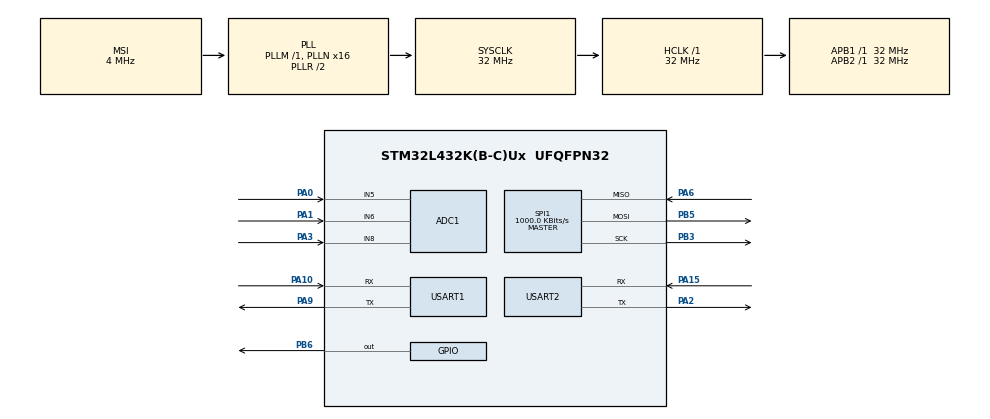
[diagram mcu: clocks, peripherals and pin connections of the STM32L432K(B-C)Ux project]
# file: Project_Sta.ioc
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ADC1.Channel-0\#ChannelRegularConversion=ADC_CHANNEL_5
ADC1.NbrOfConversionFlag=1
ADC1.OffsetNumber-0\#ChannelRegularConversion=ADC_OFFSET_NONE
ADC1.Rank-0\#ChannelRegularConversion=1
ADC1.SamplingTime-0\#ChannelRegularConversion=ADC_SAMPLETIME_2CYCLES_5
ADC1.master=1
Mcu.Family=STM32L4
Mcu.Name=STM32L432K(B-C)Ux
Mcu.Package=UFQFPN32
NVIC.PriorityGroup=NVIC_PRIORITYGROUP_4
NVIC.USART1_IRQn=true\:0\:0\:false\:false\:true\:true\:true\:true
PA0.Signal=SharedAnalog_PA0
PA1.Signal=SharedAnalog_PA1
PA10.Mode=Asynchronous
PA10.Signal=USART1_RX
PA15\ (JTDI).Mode=Asynchronous
PA15\ (JTDI).Signal=USART2_RX
PA2.Mode=Asynchronous
PA2.Signal=USART2_TX
PA3.Signal=SharedAnalog_PA3
PA6.Mode=Full_Duplex_Master
PA6.Signal=SPI1_MISO
PA9.Mode=Asynchronous
PA9.Signal=USART1_TX
PB3\ (JTDO-TRACESWO).Mode=Full_Duplex_Master
PB3\ (JTDO-TRACESWO).Signal=SPI1_SCK
PB5.Mode=Full_Duplex_Master
PB5.Signal=SPI1_MOSI
PB6.Signal=GPIO_Output
PC14-OSC32_IN\ (PC14).Mode=LSE-External-Oscillator
PC14-OSC32_IN\ (PC14).Signal=RCC_OSC32_IN
PC15-OSC32_OUT\ (PC15).Mode=LSE-External-Oscillator
PC15-OSC32_OUT\ (PC15).Signal=RCC_OSC32_OUT
ProjectManager.HeapSize=0x200
ProjectManager.StackSize=0x400
ProjectManager.TargetToolchain=STM32CubeIDE
RCC.ADCFreq_Value=32000000
RCC.AHBFreq_Value=32000000
RCC.APB1Freq_Value=32000000
RCC.APB1TimFreq_Value=32000000
RCC.APB2Freq_Value=32000000
RCC.APB2TimFreq_Value=32000000
RCC.CortexFreq_Value=32000000
RCC.HCLKFreq_Value=32000000
RCC.HSE_VALUE=8000000
RCC.HSI16_VALUE=16000000
RCC.HSI48_VALUE=48000000
RCC.HSI_VALUE=16000000
RCC.MSI_VALUE=4000000
RCC.PLLMUL=RCC_PLLMUL_4
RCC.PLLN=16
RCC.PLLSAI1N=16
RCC.SYSCLKFreq_VALUE=32000000
RCC.SYSCLKSource=RCC_SYSCLKSOURCE_PLLCLK
RCC.USBFreq_Value=32000000
RCC.VCOOutputFreq_Value=64000000
SH.SharedAnalog_PA0.0=GPIO_Analog
SH.SharedAnalog_PA0.1=ADC1_IN5,IN5-Single-Ended
SH.SharedAnalog_PA1.0=GPIO_Analog
SH.SharedAnalog_PA1.1=ADC1_IN6,IN6-Single-Ended
SH.SharedAnalog_PA3.0=GPIO_Analog
SH.SharedAnalog_PA3.1=ADC1_IN8,IN8-Single-Ended
SPI1.BaudRatePrescaler=SPI_BAUDRATEPRESCALER_32
SPI1.CalculateBaudRate=1000.0 KBits/s
SPI1.DataSize=SPI_DATASIZE_8BIT
SPI1.Direction=SPI_DIRECTION_2LINES
SPI1.Mode=SPI_MODE_MASTER
SPI1.VirtualType=VM_MASTER
USART1.VirtualMode-Asynchronous=VM_ASYNC
USART2.VirtualMode-Asynchronous=VM_ASYNC
board=NUCLEO-L432KC

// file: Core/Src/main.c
/* USER CODE BEGIN Header */
/**
 ******************************************************************************
 * @file           : main.c
 * @brief          : Main program body
 ******************************************************************************
 * @attention
 *
 * Copyright (c) 2025 STMicroelectronics.
 * All rights reserved.
 *
 * This software is licensed under terms that can be found in the LICENSE file
 * in the root directory of this software component.
 * If no LICENSE file comes with this software, it is provided AS-IS.
 *
 ******************************************************************************
 */
/* USER CODE END Header */
#include "main.h"

/* USER CODE BEGIN Includes */
#include "string.h"
#include "stdio.h"
#include "logger.h"
/* USER CODE END Includes */

/* USER CODE BEGIN PTD */
#define VREF     3.30f
#define VTH      1.80f    // seuil NMOS « pédagogique »
#define K_NMOS   0.5f     // facteur de transconductance (échelle visuelle)
#define ID_MAX   0.20f    // courant de normalisation pour la barre

typedef enum {
	MOS_OFF = 0,   // vGS < VTH  -> transistor bloqué
	MOS_TRIODE,    // vGS >= VTH et vDS <= vGS - VTH
	MOS_CHANNEL_ONLY,  // VGS ≥ VTH et VDS = 0
	MOS_SAT        // vGS >= VTH et vDS >  vGS - VTH
} MosRegime;
/* USER CODE END PTD */

/* USER CODE BEGIN PD */
#define MAX_CHAIN 4        // 4 modules en chaîne
#define MAX_ROWS  8        // 8 lignes
#define CHANNEL_COLS  32
#define REG_NOOP        0x00
#define REG_DIGIT0      0x01
#define REG_DIGIT7      0x08
#define REG_DECODE_MODE 0x09
#define REG_INTENSITY   0x0A
#define REG_SCAN_LIMIT  0x0B
#define REG_SHUTDOWN    0x0C
#define REG_DISPLAYTEST 0x0F
#define MAX_CS_GPIO_Port   GPIOB
#define MAX_CS_Pin         GPIO_PIN_6
#define MSG_SIZE 128
#define DELAY_MIN_MS  5u     // courant faible -> petit délai
#define DELAY_MAX_MS  120u   // courant fort  -> grand délai
/* USER CODE END PD */

ADC_HandleTypeDef hadc1;

SPI_HandleTypeDef hspi1;

UART_HandleTypeDef huart1;
UART_HandleTypeDef huart2;

/* USER CODE BEGIN PV */
uint8_t light = 0;
static MosRegime mos_state = MOS_OFF;
/* USER CODE END PV */

void SystemClock_Config(void);
static void MX_GPIO_Init(void);
static void MX_ADC1_Init(void);
static void MX_SPI1_Init(void);
static void MX_USART1_UART_Init(void);
static void MX_USART2_UART_Init(void);
/* USER CODE BEGIN PFP */
static void MAX_SendAll(uint8_t reg[MAX_CHAIN], uint8_t data[MAX_CHAIN]);

static inline void MAX_CS_L(void);
static inline void MAX_CS_H(void);
static void MAX_Broadcast(uint8_t reg, uint8_t data);
static void MAX_Init(void);
static uint8_t fb[MAX_ROWS][MAX_CHAIN];

static void MAX_PushFB(void);
static void FB_SetColumn(uint8_t module, uint8_t col /*0..7*/, uint8_t height /*0..8*/);

static void FB_Clear(void);

uint8_t rxAck;
uint8_t ackBuffer[30]; // pour recevoir "ACK\r\n"
uint8_t rxBuffer[100];

uint8_t ackIndex = 0;
volatile uint8_t ackReady = 0;

void display_channel(uint8_t channel[8][32]);

void fillTriangleToRectangle_Animated(uint8_t channel[8][32], uint32_t delay_ms);

int isChannelFull(uint8_t channel[8][32]);

void setIntensity(uint8_t intensity);

static void channel_clear(uint8_t channel[8][32], uint8_t value);

void animateTriodeStep(uint8_t channel[8][32]);

uint32_t computeTriodePeriod(float id,  float id_max);

static uint32_t delay_from_id(float id,  float pct);

void fillTriangleWithPinch(uint8_t channel[8][32],float vgs,float vds,uint32_t delay_ms);

void displayPinnedChannel_Animated(uint8_t channel[8][32], float vgs, float vds, float vth, float vds_max, uint32_t delay_ms);

/* USER CODE END PFP */

/* USER CODE BEGIN 0 */

static inline void MAX_CS_L(void){ HAL_GPIO_WritePin(GPIOB, GPIO_PIN_6, GPIO_PIN_RESET); }
static inline void MAX_CS_H(void){ HAL_GPIO_WritePin(GPIOB, GPIO_PIN_6, GPIO_PIN_SET);   }

static void MAX_SendAll(uint8_t reg[MAX_CHAIN], uint8_t data[MAX_CHAIN]){
	uint8_t frame[2*MAX_CHAIN];
	// envoie m = MAX_CHAIN-1 → 0
	for (int m = MAX_CHAIN-1, i = 0; m >= 0; --m, ++i){
		frame[2*i+0] = reg[m];
		frame[2*i+1] = data[m];
	}
	MAX_CS_L();
	HAL_SPI_Transmit(&hspi1, frame, sizeof(frame), 100);
	MAX_CS_H();
}
static void MAX_Broadcast(uint8_t reg, uint8_t data)
{
	uint8_t R[MAX_CHAIN], D[MAX_CHAIN];
	for (int i=0; i<MAX_CHAIN; ++i){ R[i]=reg; D[i]=data; }
	MAX_SendAll(R,D);
}
static void MAX_Init(void)
{
	MAX_CS_H();
	HAL_Delay(10);
	MAX_Broadcast(REG_DISPLAYTEST, 0x00); // test OFF
	MAX_Broadcast(REG_SCAN_LIMIT,  0x07); // 8 digits (0..7)
	MAX_Broadcast(REG_DECODE_MODE, 0x00); // no decode (matrice)
	MAX_Broadcast(REG_INTENSITY,   0x04); // luminosité (0..0x0F)
	MAX_Broadcast(REG_SHUTDOWN,    0x01); // normal operation

	//log_init(&huart1);
	//log_printf("Initiation L432KC MUST SEND DATA TO WB55RG\r\n");
	// Clear: écrire 0x00 sur les 8 DIGITx
	for (uint8_t row=REG_DIGIT0; row<=REG_DIGIT7; ++row){
		uint8_t R[MAX_CHAIN], D[MAX_CHAIN];
		for (int m=0;m<MAX_CHAIN;++m){ R[m]=row; D[m]=0x00; }
		MAX_SendAll(R,D);
	}
}

/* Frame buffer 8 lignes x 4 matrices (chaque data = 8 bits, 1=LED allumée).
   fb[row][module] */

static uint8_t fb[8][MAX_CHAIN];

uint8_t channel[8][32];

void setIntensity(uint8_t intensity){
	if (intensity > 15) intensity = 15;

	// Envoi de la luminosité à tous les modules MAX7219
	MAX_Broadcast(REG_INTENSITY, intensity);
}

void fillTriangleToRectangle_Animated(uint8_t channel[8][32], uint32_t delay_ms){
	light = 0;
	for (int col = 0; col < 32; col++)
	{
		int height = (col * 8) / 31;  // hauteur du triangle (0 -> 8)

		// Remplissage depuis la BASE (row = 7) vers le HAUT (row = 0)
		for (int row = 0; row < 8; row++)
		{
			int inverted_row = 7 - row;   // 7 = bas, 0 = haut

			if (row < height){
				channel[inverted_row][col] = 0; // off

			}
			else{
				channel[inverted_row][col] = 1; //on
				light++;
			}

		}

		uint8_t intensity = (light * 15) / 192;
		setIntensity(intensity);

		display_channel(channel);
		HAL_Delay(delay_ms);
	}
}

static uint32_t delay_from_id(float id, float pct){

	// plus id est grand -> delay PLUS PETIT
	float d = (float)DELAY_MAX_MS - pct * (float)(DELAY_MAX_MS - DELAY_MIN_MS);

	return (uint32_t)(d + 0.5f);
}

void animateTriodeStep(uint8_t channel[8][32]){
	static uint8_t col = 0;

	int height = (col * 8) /32;

	for (int row = 0; row < 8; row++) {
		int inv = 7 - row;
		channel[inv][col] = (row < height) ? 0 : 1;
	}

	display_channel(channel);

	col++;
	if (col >= 32) {
		col = 0;   // on recommence → animation cyclique
	}
}

uint32_t computeTriodePeriod(float id, float id_max){
	// sécurité

	// ID faible → lent, ID fort → rapide
	uint32_t Tmin = 30;   // ms
	uint32_t Tmax = 500;  // ms

	float ratio = id / id_max;   // 0 → 1
	return (uint32_t)(Tmax - ratio * (Tmax - Tmin));
}

int isChannelFull(uint8_t channel[8][32]){
	for (int row = 0; row < 8; row++)
		for (int col = 0; col < 32; col++)
			if (channel[row][col] == 0)
				return 0;

	return 1; // toutes les LEDs sont à 1
}

static void FB_Clear(void)
{
	memset(fb, 0, sizeof(fb));
}

static void FB_SetColumn(uint8_t module, uint8_t col, uint8_t height){
	if(module>=MAX_CHAIN || col>7) return;
	if(height>8) height=8;
	for(uint8_t r=0;r<8;r++){
		if(r<height) fb[r][module] |=  (1u<<col);
		else         fb[r][module] &= ~(1u<<col);
	}
}

static void MAX_PushFB(void){
	for(uint8_t row=0;row<8;row++){
		uint8_t R[MAX_CHAIN], D[MAX_CHAIN];
		for(int m=0;m<MAX_CHAIN;m++){
			R[m] = 0x01 + row;    // DIGIT0..DIGIT7 = 0x01..0x08
			D[m] = fb[row][m];
		}
		MAX_SendAll(R,D);
	}
}

/* Lis successivement A0(ADC1_IN5), A1(ADC1_IN6), A2(ADC1_IN8) */

/* Mappe 0..4095 vers 0..8 */

/*static inline uint8_t map_0_4095_to_0_8(uint16_t v){
	return (uint8_t)((uint32_t)v * 9u / 4096u); // 0..8
}*/

static float last_vs_eff = 0.0f;

__attribute__((aligned(4))) volatile uint16_t adc_buf[3] = {0,0,0};

uint8_t wiping[4] = {0,0,0,0};    // 1 = en phase d’effacement pour ce module
uint8_t wipe_row[4] = {0,0,0,0};
volatile uint16_t g_a0, g_a1, g_a2;

static uint16_t adc_read_one(uint32_t channel)
{
	ADC_ChannelConfTypeDef s = {0};
	s.Channel = channel;
	s.Rank = ADC_REGULAR_RANK_1;
	s.SamplingTime = ADC_SAMPLETIME_92CYCLES_5;   // un peu long = stable
	s.SingleDiff = ADC_SINGLE_ENDED;
	s.OffsetNumber = ADC_OFFSET_NONE;
	s.Offset = 0;

	HAL_ADC_ConfigChannel(&hadc1, &s);
	HAL_ADC_Start(&hadc1);
	HAL_ADC_PollForConversion(&hadc1, 10);        // 10 ms max
	uint16_t v = (uint16_t)HAL_ADC_GetValue(&hadc1);
	HAL_ADC_Stop(&hadc1);
	return v;
}

static void adc_read_3(uint16_t *a0, uint16_t *a1, uint16_t *a2)
{
	// Nucleo L432KC : PA0=ADC_IN5, PA1=ADC_IN6, PA3=ADC_IN8  (vérifié)
	*a0 = adc_read_one(ADC_CHANNEL_5);  // PA0
	*a1 = adc_read_one(ADC_CHANNEL_6);  // PA1
	*a2 = adc_read_one(ADC_CHANNEL_8);  // PA3
}

static void channel_clear(uint8_t channel[8][32], uint8_t value)
{
	for (int r = 0; r < 8; r++)
		for (int c = 0; c < 32; c++)
			channel[r][c] = value;
}

void display_channel(uint8_t channel[8][32]){
	FB_Clear();

	for (int col = 0; col < 32; col++)
	{
		int module = col / 8;      // 0 à 3
		int col_in_module = col % 8;

		for (int row = 0; row < 8; row++)
		{
			if (channel[row][col])
				fb[row][module] |= (1 << col_in_module);
			else
				fb[row][module] &= ~(1 << col_in_module);
		}
	}

	MAX_PushFB();
}

void displayPinnedChannel_Animated(uint8_t channel[8][32],
		float vgs, float vds,
		float vth, float vds_max,
		uint32_t delay_ms)
{
	// 1) écran vide
		for (int r = 0; r < 8; r++)
			for (int c = 0; c < 32; c++)
				channel[r][c] = 0;

		// facteur de pincement global
		float pinch = (vds - (vgs - vth)) / vds_max;
		if (pinch < 0.0f) pinch = 0.0f;
		if (pinch > 1.0f) pinch = 1.0f;

		// 2) affichage progressif source → drain
		for (int col = 0; col < 32; col++)
		{
			// hauteur triode de référence
			int base_h = (col * 8) / 31;

			// position normalisée
			float x = (float)col / 31.0f;

			// pincement → on AUGMENTE le seuil
			int delta = (int)(pinch * x * 8.0f + 0.5f);

			int h = base_h + delta;
			if (h > 8) h = 8;

			// allumer UNIQUEMENT le canal
			for (int row = h; row < 8; row++)
			{
				int inv = 7 - row;
				channel[inv][col] = 1;
			}

			display_channel(channel);
			HAL_Delay(delay_ms);
		}
}

/* USER CODE END 0 */

int main(void)
{

	/* MCU Configuration--------------------------------------------------------*/

	/* Reset of all peripherals, Initializes the Flash interface and the Systick. */
	HAL_Init();

	/* Configure the system clock */
	SystemClock_Config();

	/* Initialize all configured peripherals */
	MX_GPIO_Init();
	MX_ADC1_Init();
	MX_SPI1_Init();
	MX_USART1_UART_Init();
	MX_USART2_UART_Init();
	/* USER CODE BEGIN 2 */

	MAX_Init();

	log_init(&huart2);
	log_printf("### LOG_PRINTF TEST ###\r\n");
	//log_printf("Initiation L432KC MUST SEND DATA TO WB55RG\r\n");
	// sanity tests

	MAX_Broadcast(REG_DISPLAYTEST, 0x00);
	FB_Clear();
	MAX_PushFB();   // tout éteint

	/* USER CODE END 2 */

	/* Infinite loop */
	/* USER CODE BEGIN WHILE */
	while (1)
	{

		uint16_t a0, a1, a2;
		adc_read_3(&a0, &a1, &a2);   // <-- vrai polling, 3 lectures

		g_a0 = a0; g_a1 = a1; g_a2 = a2;   // pour debugger en live

		float vg = (a0 * VREF) / 4095.0f;
		float vs = (a1 * VREF) / 4095.0f;
		float vd = (a2 * VREF) / 4095.0f;

		// Physique simple : VS ne peut pas dépasser VD
		float vs_eff = vs;
		if (vs_eff > vd - 0.05f) vs_eff = vd - 0.05f;               // clamp
		if (vs_eff < 0.0f)       vs_eff = 0.0f;

		// MOSFET
		float vgs = vg - vs_eff;
		float vds = vd - vs_eff;
		float id  = 0.0f;

		float vgt = vgs - VTH;
		float id_max = 0.5f * K_NMOS * vgt * vgt;
		if (id_max < 1e-6f) id_max = 1e-6f;

		if (vgs > VTH && vds > 0.0f) {

			if (vds < vgt) { // linéaire
				id = K_NMOS * (vgt * vds - 0.5f * vds * vds);
			} else {         // saturation
				id = 0.5f * K_NMOS * vgt * vgt;
			}
		}else{
			id = 0.0f;
		}

		// “VS ne peut plus augmenter quand tout est allumé”:
		// si la barre courant est pleine, on gèle VS (comportement pédagogique)

		//if (id < 0.0f) id = 0.0f;
		//if (id > ID_MAX) id = ID_MAX;

		// --- normalisation bargraph (0..1) ---
		float pct = id / id_max;
		if (pct > 1.0f) pct = 1.0f;   // sécurité

		//log_printf("ID_MAX%.2f ; ID%.2f\r\n",id_max, id);

		// “VS ne peut plus augmenter quand tout est allumé” (pédagogique)
		if (pct >= 1.0f && vs > last_vs_eff) {
			vs_eff = last_vs_eff;
		} else {
			last_vs_eff = vs_eff;
		}

		/*float pct = id / ID_MAX; if (pct > 1.0f) pct = 1.0f; if (pct < 0.0f) pct = 0.0f;
		if (pct >= 1.0f && vs > last_vs_eff) {
			vs_eff = last_vs_eff; // empêche VS de monter davantage à l’affichage
		} else {
			last_vs_eff = vs_eff;
		}*/

		MosRegime new_state;
		int o = -1;

		if (vgs < VTH) {
			new_state = MOS_OFF;
			o=0;
		}
		else if (vds <= 0.02f) {
			new_state = MOS_CHANNEL_ONLY;
		}
		else {
			float vgt = vgs - VTH;
			if (vds <= vgt){
				new_state = MOS_TRIODE;
				o=1;
			}

			else{
				new_state = MOS_SAT;
				o=3;
			}

		}

		uint32_t delay_ms = delay_from_id(id, pct);

		// Si le régime change, on met à jour le dessin du canal
		if (new_state != mos_state) {
			mos_state = new_state;

			switch (mos_state) {

			case MOS_OFF:
				channel_clear(channel, 0); // vGS < VTH -> aucune LED sur les 3 premiers blocs
				display_channel(channel);
				setIntensity(0);            // intensité mini
				break;

			case MOS_CHANNEL_ONLY:

				fillTriangleToRectangle_Animated(channel, 0);
				break;

			case MOS_TRIODE:
				// clear écran UNE fois
				for (int r = 0; r < 8; r++)
					for (int c = 0; c < 32; c++)
						channel[r][c] = 0;
				HAL_Delay(500);

				fillTriangleToRectangle_Animated(channel, delay_ms);

				//setIntensity(8);    // par ex. intensité moyenne

				break;

			case MOS_SAT:
				o = 3;

				HAL_Delay(200);
				displayPinnedChannel_Animated(channel,
						vgs, vds,
						VTH, 3.3f,
						delay_ms);

				break;
			}

			log_printf("%d\r\n", o);
		}

		if (mos_state == MOS_TRIODE){
			for (int r = 0; r < 8; r++)
				for (int c = 0; c < 32; c++)
					channel[r][c] = 0;   // on repart d'un écran vide
			HAL_Delay(500);
			//uint32_t delay_ms = delay_from_id(id, pct);
			// triangle qui progresse de la source vers le drain
			fillTriangleToRectangle_Animated(channel, delay_ms);
		}
		if(mos_state == MOS_SAT){

			HAL_Delay(200);
			displayPinnedChannel_Animated(channel,
					vgs, vds,
					VTH, 3.3f,
					delay_ms);

		}

		char msg[MSG_SIZE];

		// conversion Volts -> mV
		uint32_t vg_mV = (uint32_t)(vg * 1000.0f);
		uint32_t vs_mV = (uint32_t)(vs_eff * 1000.0f);
		uint32_t vd_mV = (uint32_t)(vd * 1000.0f);
		uint32_t Id_mA = (uint32_t)(id * 1000.0f + 0.5f);
		//uint32_t Id_mA = (uint32_t)(pct*1000.0f+ 0.5f);
		// Construction de la trame EXACTE compatible parse_values()
		snprintf(msg, sizeof(msg),
				"#VG=%lu VS=%lu VD=%lu Id=%lu\r\n",
				(unsigned long)vg_mV,
				(unsigned long)vs_mV,
				(unsigned long)vd_mV,
				(unsigned long)Id_mA);

		// Envoi UART
		HAL_UART_Transmit(&huart1, (uint8_t*)msg, strlen(msg), HAL_MAX_DELAY);
		// Envoi UART VERS WB55
		//HAL_UART_Transmit(&huart2, (uint8_t*)msg, strlen(msg), HAL_MAX_DELAY);

		//log_printf("Message Sent : %s\r\n", msg+1);
		HAL_Delay(500);
	}
	/* USER CODE END WHILE */

}

void SystemClock_Config(void)
{
	RCC_OscInitTypeDef RCC_OscInitStruct = {0};
	RCC_ClkInitTypeDef RCC_ClkInitStruct = {0};

	/** Configure the main internal regulator output voltage
	 */
	if (HAL_PWREx_ControlVoltageScaling(PWR_REGULATOR_VOLTAGE_SCALE1) != HAL_OK)
	{
		Error_Handler();
	}

	/** Configure LSE Drive Capability
	 */
	HAL_PWR_EnableBkUpAccess();
	__HAL_RCC_LSEDRIVE_CONFIG(RCC_LSEDRIVE_LOW);

	/** Initializes the RCC Oscillators according to the specified parameters
	 * in the RCC_OscInitTypeDef structure.
	 */
	RCC_OscInitStruct.OscillatorType = RCC_OSCILLATORTYPE_LSE|RCC_OSCILLATORTYPE_MSI;
	RCC_OscInitStruct.LSEState = RCC_LSE_ON;
	RCC_OscInitStruct.MSIState = RCC_MSI_ON;
	RCC_OscInitStruct.MSICalibrationValue = 0;
	RCC_OscInitStruct.MSIClockRange = RCC_MSIRANGE_6;
	RCC_OscInitStruct.PLL.PLLState = RCC_PLL_ON;
	RCC_OscInitStruct.PLL.PLLSource = RCC_PLLSOURCE_MSI;
	RCC_OscInitStruct.PLL.PLLM = 1;
	RCC_OscInitStruct.PLL.PLLN = 16;
	RCC_OscInitStruct.PLL.PLLP = RCC_PLLP_DIV7;
	RCC_OscInitStruct.PLL.PLLQ = RCC_PLLQ_DIV2;
	RCC_OscInitStruct.PLL.PLLR = RCC_PLLR_DIV2;
	if (HAL_RCC_OscConfig(&RCC_OscInitStruct) != HAL_OK)
	{
		Error_Handler();
	}

	/** Initializes the CPU, AHB and APB buses clocks
	 */
	RCC_ClkInitStruct.ClockType = RCC_CLOCKTYPE_HCLK|RCC_CLOCKTYPE_SYSCLK
			|RCC_CLOCKTYPE_PCLK1|RCC_CLOCKTYPE_PCLK2;
	RCC_ClkInitStruct.SYSCLKSource = RCC_SYSCLKSOURCE_PLLCLK;
	RCC_ClkInitStruct.AHBCLKDivider = RCC_SYSCLK_DIV1;
	RCC_ClkInitStruct.APB1CLKDivider = RCC_HCLK_DIV1;
	RCC_ClkInitStruct.APB2CLKDivider = RCC_HCLK_DIV1;

	if (HAL_RCC_ClockConfig(&RCC_ClkInitStruct, FLASH_LATENCY_1) != HAL_OK)
	{
		Error_Handler();
	}

	/** Enable MSI Auto calibration
	 */
	HAL_RCCEx_EnableMSIPLLMode();
}

static void MX_ADC1_Init(void)
{

	ADC_ChannelConfTypeDef sConfig = {0};

	/** Common config
	 */
	hadc1.Instance = ADC1;
	hadc1.Init.ClockPrescaler = ADC_CLOCK_ASYNC_DIV1;
	hadc1.Init.Resolution = ADC_RESOLUTION_12B;
	hadc1.Init.DataAlign = ADC_DATAALIGN_RIGHT;
	hadc1.Init.ScanConvMode = ADC_SCAN_DISABLE;
	hadc1.Init.EOCSelection = ADC_EOC_SINGLE_CONV;
	hadc1.Init.LowPowerAutoWait = DISABLE;
	hadc1.Init.ContinuousConvMode = DISABLE;
	hadc1.Init.NbrOfConversion = 1;
	hadc1.Init.DiscontinuousConvMode = DISABLE;
	hadc1.Init.ExternalTrigConv = ADC_SOFTWARE_START;
	hadc1.Init.ExternalTrigConvEdge = ADC_EXTERNALTRIGCONVEDGE_NONE;
	hadc1.Init.DMAContinuousRequests = DISABLE;
	hadc1.Init.Overrun = ADC_OVR_DATA_PRESERVED;
	hadc1.Init.OversamplingMode = DISABLE;
	if (HAL_ADC_Init(&hadc1) != HAL_OK)
	{
		Error_Handler();
	}

	/** Configure Regular Channel
	 */
	sConfig.Channel = ADC_CHANNEL_5;
	sConfig.Rank = ADC_REGULAR_RANK_1;
	sConfig.SamplingTime = ADC_SAMPLETIME_2CYCLES_5;
	sConfig.SingleDiff = ADC_SINGLE_ENDED;
	sConfig.OffsetNumber = ADC_OFFSET_NONE;
	sConfig.Offset = 0;
	if (HAL_ADC_ConfigChannel(&hadc1, &sConfig) != HAL_OK)
	{
		Error_Handler();
	}

}

static void MX_SPI1_Init(void)
{

	/* SPI1 parameter configuration*/
	hspi1.Instance = SPI1;
	hspi1.Init.Mode = SPI_MODE_MASTER;
	hspi1.Init.Direction = SPI_DIRECTION_2LINES;
	hspi1.Init.DataSize = SPI_DATASIZE_8BIT;
	hspi1.Init.CLKPolarity = SPI_POLARITY_LOW;
	hspi1.Init.CLKPhase = SPI_PHASE_1EDGE;
	hspi1.Init.NSS = SPI_NSS_SOFT;
	hspi1.Init.BaudRatePrescaler = SPI_BAUDRATEPRESCALER_32;
	hspi1.Init.FirstBit = SPI_FIRSTBIT_MSB;
	hspi1.Init.TIMode = SPI_TIMODE_DISABLE;
	hspi1.Init.CRCCalculation = SPI_CRCCALCULATION_DISABLE;
	hspi1.Init.CRCPolynomial = 7;
	hspi1.Init.CRCLength = SPI_CRC_LENGTH_DATASIZE;
	hspi1.Init.NSSPMode = SPI_NSS_PULSE_ENABLE;
	if (HAL_SPI_Init(&hspi1) != HAL_OK)
	{
		Error_Handler();
	}

}

static void MX_USART1_UART_Init(void)
{

	huart1.Instance = USART1;
	huart1.Init.BaudRate = 115200;
	huart1.Init.WordLength = UART_WORDLENGTH_8B;
	huart1.Init.StopBits = UART_STOPBITS_1;
	huart1.Init.Parity = UART_PARITY_NONE;
	huart1.Init.Mode = UART_MODE_TX_RX;
	huart1.Init.HwFlowCtl = UART_HWCONTROL_NONE;
	huart1.Init.OverSampling = UART_OVERSAMPLING_16;
	huart1.Init.OneBitSampling = UART_ONE_BIT_SAMPLE_DISABLE;
	huart1.AdvancedInit.AdvFeatureInit = UART_ADVFEATURE_NO_INIT;
	if (HAL_UART_Init(&huart1) != HAL_OK)
	{
		Error_Handler();
	}

}

static void MX_USART2_UART_Init(void)
{

	huart2.Instance = USART2;
	huart2.Init.BaudRate = 115200;
	huart2.Init.WordLength = UART_WORDLENGTH_8B;
	huart2.Init.StopBits = UART_STOPBITS_1;
	huart2.Init.Parity = UART_PARITY_NONE;
	huart2.Init.Mode = UART_MODE_TX_RX;
	huart2.Init.HwFlowCtl = UART_HWCONTROL_NONE;
	huart2.Init.OverSampling = UART_OVERSAMPLING_16;
	huart2.Init.OneBitSampling = UART_ONE_BIT_SAMPLE_DISABLE;
	huart2.AdvancedInit.AdvFeatureInit = UART_ADVFEATURE_NO_INIT;
	if (HAL_UART_Init(&huart2) != HAL_OK)
	{
		Error_Handler();
	}

}

static void MX_GPIO_Init(void)
{
	GPIO_InitTypeDef GPIO_InitStruct = {0};

	/* GPIO Ports Clock Enable */
	__HAL_RCC_GPIOC_CLK_ENABLE();
	__HAL_RCC_GPIOA_CLK_ENABLE();
	__HAL_RCC_GPIOB_CLK_ENABLE();

	/*Configure GPIO pin Output Level */
	HAL_GPIO_WritePin(GPIOB, GPIO_PIN_6, GPIO_PIN_RESET);

	/*Configure GPIO pin : PB6 */
	GPIO_InitStruct.Pin = GPIO_PIN_6;
	GPIO_InitStruct.Mode = GPIO_MODE_OUTPUT_PP;
	GPIO_InitStruct.Pull = GPIO_NOPULL;
	GPIO_InitStruct.Speed = GPIO_SPEED_FREQ_LOW;
	HAL_GPIO_Init(GPIOB, &GPIO_InitStruct);

}

void Error_Handler(void)
{
	__disable_irq();
	while (1)
	{
	}
}
